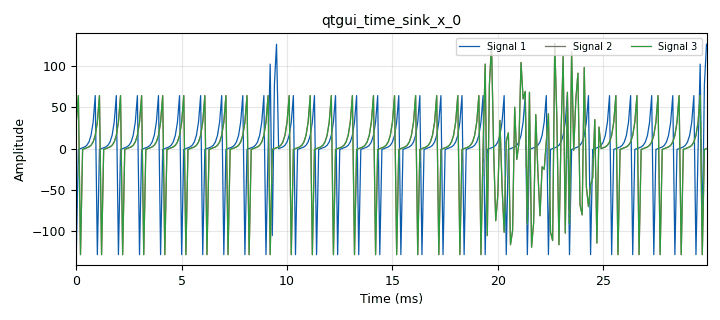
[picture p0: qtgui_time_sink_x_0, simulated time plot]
options:
  parameters:
    author: root
    generate_options: qt_gui
    id: testing_encoder3_RS
    output_language: python
    run_options: run
    title: testing_encoder3_RS
  states: {}

blocks:
- name: samp_rate
  id: variable
  parameters:
    value: '32000'
  states: {state: disabled}
- name: samp_rate
  id: variable
  parameters:
    value: '10000'
  states: {}
- name: blocks_char_to_float_0
  id: blocks_char_to_float
  parameters:
    scale: '1'
  states: {}
- name: blocks_char_to_float_0_0
  id: blocks_char_to_float
  parameters:
    scale: '1'
  states: {}
- name: blocks_char_to_float_0_0_0
  id: blocks_char_to_float
  parameters:
    scale: '1'
  states: {}
- name: blocks_ctrlport_monitor_performance_0
  id: blocks_ctrlport_monitor_performance
  parameters:
    en: 'True'
  states: {state: disabled}
- name: blocks_file_sink_0_0
  id: blocks_file_sink
  parameters:
    file: /root/repos/usrp-utils/archive/post_decoder.bin
    type: byte
    unbuffered: 'True'
  states: {}
- name: blocks_file_sink_0_0_0
  id: blocks_file_sink
  parameters:
    file: /root/repos/usrp-utils/archive/post_encoder.bin
    type: byte
    unbuffered: 'True'
  states: {}
- name: blocks_file_sink_0_0_0_0_0
  id: blocks_file_sink
  parameters:
    file: /root/repos/usrp-utils/archive/pre_crc.bin
    type: byte
    unbuffered: 'True'
  states: {}
- name: blocks_file_sink_0_0_0_0_0_0
  id: blocks_file_sink
  parameters:
    file: /root/repos/usrp-utils/archive/post_crc.bin
    type: byte
    unbuffered: 'True'
  states: {}
- name: blocks_file_sink_0_0_1
  id: blocks_file_sink
  parameters:
    file: /root/repos/usrp-utils/archive/post_crc_check.bin
    type: byte
    unbuffered: 'True'
  states: {}
- name: blocks_stream_to_tagged_stream_0_0
  id: blocks_stream_to_tagged_stream
  parameters:
    len_tag_key: pkt_len
    packet_len: frame_size
    type: byte
  states: {}
- name: blocks_stream_to_vector_0
  id: blocks_stream_to_vector
  parameters:
    num_items: n
    type: byte
  states: {}
- name: blocks_stream_to_vector_1
  id: blocks_stream_to_vector
  parameters:
    num_items: frame_size+4
    type: byte
  states: {}
- name: blocks_tagged_stream_multiply_length_0
  id: blocks_tagged_stream_multiply_length
  parameters:
    c: n/(frame_size+4)
    lengthtagname: pkt_len
    type: byte
  states: {}
- name: blocks_vector_source_x_0_1_0
  id: blocks_vector_source_x
  parameters:
    repeat: 'False'
    type: byte
    vector: (frame_size//10)*[0,1,2,4,8,16,32,64,128,255]*4
  states: {}
- name: blocks_vector_to_stream_0
  id: blocks_vector_to_stream
  parameters:
    num_items: n
    type: byte
  states: {}
- name: blocks_vector_to_stream_0_0
  id: blocks_vector_to_stream
  parameters:
    num_items: int(frame_size+4)
    type: byte
  states: {}
- name: digital_crc32_bb_0_0
  id: digital_crc32_bb
  parameters:
    check: 'False'
    lengthtagname: pkt_len
    packed: 'True'
  states: {}
- name: digital_crc32_bb_0_0_0
  id: digital_crc32_bb
  parameters:
    check: 'True'
    lengthtagname: pkt_len
    packed: 'True'
  states: {}
- name: dtv_dvbt_reed_solomon_dec_0
  id: dtv_dvbt_reed_solomon_dec
  parameters:
    blocks: '1'
    gfpoly: '0x11d'
    k: int(frame_size+4)
    m: '8'
    n: n
    p: '2'
    s: '0'
    t: int((n-int(frame_size+4))/2)
  states: {}
- name: dtv_dvbt_reed_solomon_enc_0
  id: dtv_dvbt_reed_solomon_enc
  parameters:
    blocks: '1'
    gfpoly: '0x11d'
    k: int(frame_size+4)
    m: '8'
    n: n
    p: '2'
    s: '0'
    t: int((n-int(frame_size+4))/2)
  states: {}
- name: dtv_dvbt_reed_solomon_enc_1
  id: dtv_dvbt_reed_solomon_enc
  parameters:
    blocks: '8'
    gfpoly: '0x11d'
    k: '239'
    m: '8'
    n: '255'
    p: '2'
    s: '51'
    t: '8'
  states: {state: disabled}
- name: dtv_dvbt_reed_solomon_enc_2
  id: dtv_dvbt_reed_solomon_enc
  parameters:
    blocks: '8'
    gfpoly: '0x11d'
    k: '239'
    m: '8'
    n: '255'
    p: '2'
    s: '51'
    t: '8'
  states: {state: disabled}
- name: frame_size
  id: parameter
  parameters:
    label: Frame Size
    type: intx
    value: '200'
  states: {}
- name: k
  id: parameter
  parameters:
    label: k
    type: intx
    value: int(frame_size+4)
  states: {state: disabled}
- name: n
  id: parameter
  parameters:
    label: n
    type: intx
    value: '255'
  states: {}
- name: qtgui_time_sink_x_0
  id: qtgui_time_sink_x
  parameters:
    autoscale: 'True'
    nconnections: '3'
    size: '300'
    srate: samp_rate
    type: float
  states: {}

connections:
- [blocks_char_to_float_0, '0', qtgui_time_sink_x_0, '0']
- [blocks_char_to_float_0_0, '0', qtgui_time_sink_x_0, '1']
- [blocks_char_to_float_0_0_0, '0', qtgui_time_sink_x_0, '2']
- [blocks_stream_to_tagged_stream_0_0, '0', blocks_file_sink_0_0_0_0_0, '0']
- [blocks_stream_to_tagged_stream_0_0, '0', digital_crc32_bb_0_0, '0']
- [blocks_stream_to_vector_0, '0', dtv_dvbt_reed_solomon_dec_0, '0']
- [blocks_stream_to_vector_1, '0', dtv_dvbt_reed_solomon_enc_0, '0']
- [blocks_tagged_stream_multiply_length_0, '0', blocks_char_to_float_0_0_0, '0']
- [blocks_vector_source_x_0_1_0, '0', blocks_stream_to_tagged_stream_0_0, '0']
- [blocks_vector_to_stream_0, '0', blocks_char_to_float_0_0, '0']
- [blocks_vector_to_stream_0, '0', blocks_file_sink_0_0_0, '0']
- [blocks_vector_to_stream_0, '0', blocks_stream_to_vector_0, '0']
- [blocks_vector_to_stream_0, '0', blocks_tagged_stream_multiply_length_0, '0']
- [blocks_vector_to_stream_0_0, '0', blocks_file_sink_0_0, '0']
- [blocks_vector_to_stream_0_0, '0', digital_crc32_bb_0_0_0, '0']
- [digital_crc32_bb_0_0, '0', blocks_char_to_float_0, '0']
- [digital_crc32_bb_0_0, '0', blocks_file_sink_0_0_0_0_0_0, '0']
- [digital_crc32_bb_0_0, '0', blocks_stream_to_vector_1, '0']
- [digital_crc32_bb_0_0_0, '0', blocks_file_sink_0_0_1, '0']
- [dtv_dvbt_reed_solomon_dec_0, '0', blocks_vector_to_stream_0_0, '0']
- [dtv_dvbt_reed_solomon_enc_0, '0', blocks_vector_to_stream_0, '0']

metadata:
  file_format: 1
